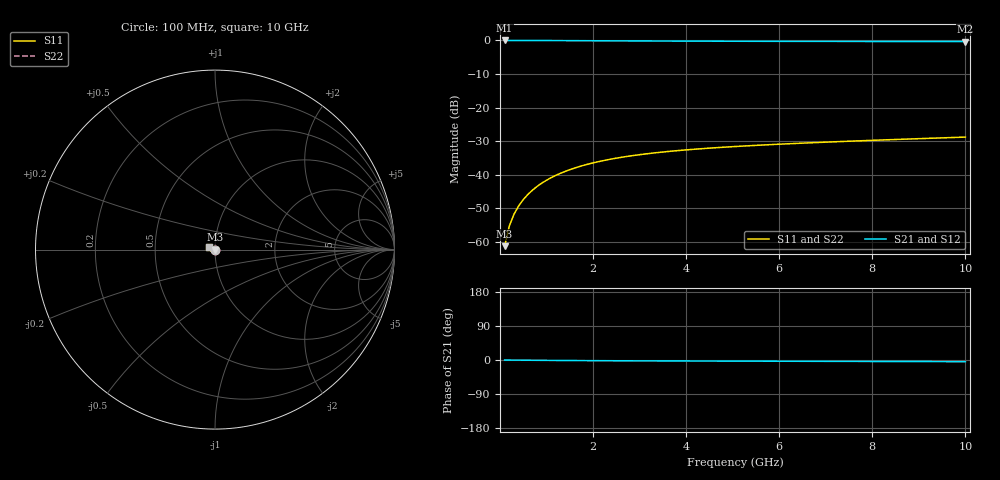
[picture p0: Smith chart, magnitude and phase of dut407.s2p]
! Touchstone file exported from HFSS 2024.1.0
!  File:  C:/UserFiles/LocalFiles/RDL_TSV_Batchsim/temp_TSV1_407_1779691982.aedt
!  Generated:  02:58:25 PM May 25, 2026
!  Design:  TSV1
!  Project:  temp_TSV1_407_1779691982
!  Setup:  Setup1
!  Solution:  Sweep
! Variables:
!  dtsv = 9.21um
!  hbump = 3um
!  htsv = 64.82um
!  lrdl = 252.1521522um
!  p = 40
!  p1 = 57.58um
!  t = 500um
!  trdl = 3um
!  wrdl = 24.89489489um
# GHz S MA R 50.000000
! Terminal data exported
! Port[1] = TSV22_T1
! Port[2] = TSV22_T2
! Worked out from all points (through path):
!   100 points, 100 MHz to 10 GHz, reference 50 ohm
!   highest |S21| = 0.00 dB at 100 MHz (marker M1); lowest = -0.3 dB at 10 GHz (marker M2)
!   lowest |S11| = -61.2 dB at 100 MHz (marker M3), VSWR 1.00, Z = 50 - j0.086 ohm
!   |S11| at or under -10 dB: start of sweep to end of sweep
!   |S22| runs from -61.2 to -28.8 dB; largest |S21 - S12| = 4.5e-15
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0.1  0.0008679 -82.2  0.9998 -0.1  0.9998 -0.1  0.0008679 -82.2
! Gamma 0 0 0 0
! Port Impedance 50 0 50 0
0.2  0.001722 -89.2  0.9997 -0.2  0.9997 -0.2  0.001722 -89.2
0.3  0.002579 -93.0  0.9995 -0.3  0.9995 -0.3  0.002579 -93.0
0.4  0.003431 -96.0  0.9993 -0.4  0.9993 -0.4  0.003431 -96.0
0.5  0.004275 -98.7  0.999 -0.5  0.999 -0.5  0.004275 -98.7
0.6  0.005109 -101.2  0.9986 -0.6  0.9986 -0.6  0.005109 -101.2
0.7  0.005931 -103.6  0.9982 -0.7  0.9982 -0.7  0.005931 -103.6
0.8  0.00674 -105.9  0.9978 -0.8  0.9978 -0.8  0.00674 -105.9
0.9  0.007534 -108.2  0.9972 -0.9  0.9972 -0.9  0.007534 -108.2
1.1  0.009072 -112.5  0.9961 -1.1  0.9961 -1.1  0.009072 -112.5
1.4  0.01124 -118.6  0.9942 -1.3  0.9942 -1.3  0.01124 -118.6
1.6  0.01259 -122.5  0.9928 -1.5  0.9928 -1.5  0.01259 -122.5
1.8  0.01386 -126.3  0.9913 -1.6  0.9913 -1.6  0.01386 -126.3
2.1  0.01562 -131.6  0.9891 -1.8  0.9891 -1.8  0.01562 -131.6
2.5  0.01771 -138.2  0.9863 -2.0  0.9863 -2.0  0.01771 -138.2
2.9  0.01953 -144.2  0.9836 -2.2  0.9836 -2.2  0.01953 -144.2
3.4  0.0215 -151.1  0.9805 -2.4  0.9805 -2.4  0.0215 -151.1
4.2  0.02411 -160.7  0.9765 -2.7  0.9765 -2.7  0.02411 -160.7
5.1  0.02651 -169.9  0.9729 -3.0  0.9729 -3.0  0.02651 -169.9
6.7  0.03004 176.7  0.9685 -3.5  0.9685 -3.5  0.03004 176.7
8.4  0.03339 165.5  0.9655 -4.0  0.9655 -4.0  0.03339 165.5
10  0.03645 156.9  0.9636 -4.5  0.9636 -4.5  0.03645 156.9
